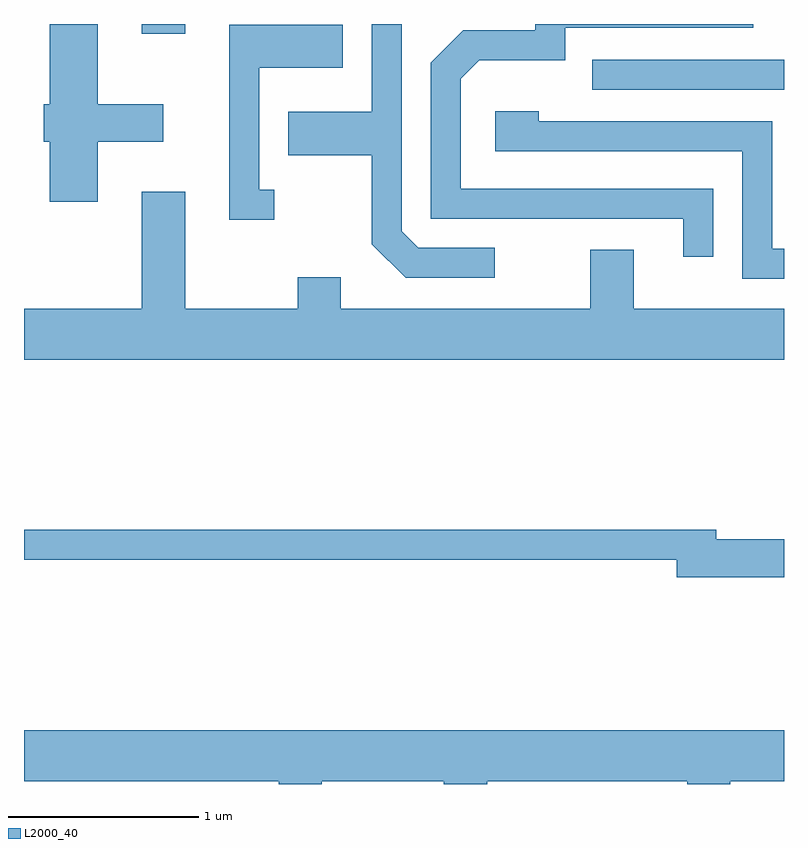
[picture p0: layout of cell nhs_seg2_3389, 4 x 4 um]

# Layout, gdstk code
import gdstk
lib = gdstk.Library(unit=1e-6, precision=1e-09)
def R(c, l, rs):  # rectangles x0, y0, x1, y1
    for r in rs: c.add(gdstk.rectangle(r[:2], r[2:], *l))
def P(c, l, *ps):  # polygons
    for p in ps: c.add(gdstk.Polygon(p, *l))
L2000_40 = (2000, 40)

nhs_seg2_3389 = lib.new_cell('nhs_seg2_3389')
R(nhs_seg2_3389, L2000_40, [(286.603,1107.456,287.611,1107.614), (284.231,1107.751,284.459,1107.802)])
P(nhs_seg2_3389, L2000_40, [(283.999,1107.181),(284.344,1107.181),(284.344,1107.379),(283.999,1107.379),(283.999,1107.802),(283.746,1107.802),(283.746,1107.379),(283.716,1107.379),(283.716,1107.181),(283.746,1107.181),(283.746,1106.866),(283.999,1106.866)],
  [(287.239,1106.934),(285.909,1106.934),(285.909,1107.514),(286.007,1107.611),(286.459,1107.611),(286.459,1107.781),(287.449,1107.781),(287.449,1107.802),(286.301,1107.802),(286.301,1107.769),(285.924,1107.769),(285.751,1107.597),(285.751,1106.776),(287.081,1106.776),(287.081,1106.578),(287.239,1106.578)],
  [(286.088,1106.624),(285.687,1106.624),(285.599,1106.712),(285.599,1107.802),(285.441,1107.802),(285.441,1107.339),(285.001,1107.339),(285.001,1107.111),(285.441,1107.111),(285.441,1106.644),(285.619,1106.466),(286.088,1106.466)],
  [(284.928,1106.929),(284.849,1106.929),(284.849,1107.571),(285.289,1107.571),(285.289,1107.799),(284.691,1107.799),(284.691,1106.771),(284.928,1106.771)],
  [(287.611,1106.619),(287.549,1106.619),(287.549,1107.289),(286.319,1107.289),(286.319,1107.344),(286.091,1107.344),(286.091,1107.131),(287.391,1107.131),(287.391,1106.461),(287.611,1106.461)],
  [(287.611,1106.304),(286.819,1106.304),(286.819,1106.614),(286.591,1106.614),(286.591,1106.304),(285.279,1106.304),(285.279,1106.469),(285.051,1106.469),(285.051,1106.304),(284.459,1106.304),(284.459,1106.919),(284.231,1106.919),(284.231,1106.304),(283.611,1106.304),(283.611,1106.036),(287.611,1106.036)],
  [(287.611,1105.089),(287.254,1105.089),(287.254,1105.139),(283.611,1105.139),(283.611,1104.981),(287.046,1104.981),(287.046,1104.891),(287.611,1104.891)],
  [(285.179,1103.816),(285.821,1103.816),(285.821,1103.802),(286.049,1103.802),(286.049,1103.816),(287.101,1103.816),(287.101,1103.802),(287.329,1103.802),(287.329,1103.816),(287.611,1103.816),(287.611,1104.084),(283.611,1104.084),(283.611,1103.816),(284.951,1103.816),(284.951,1103.802),(285.179,1103.802)])

lib.write_gds('nhs_seg2_3389.gds')
